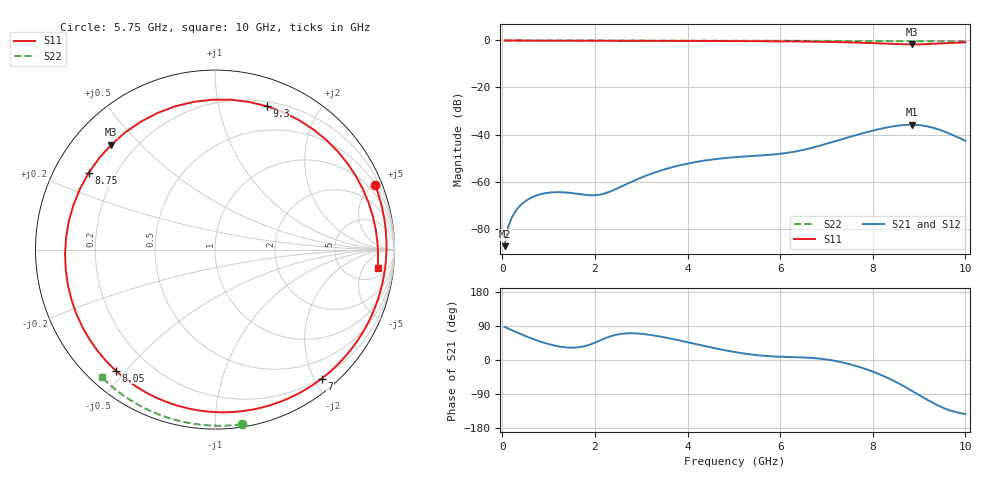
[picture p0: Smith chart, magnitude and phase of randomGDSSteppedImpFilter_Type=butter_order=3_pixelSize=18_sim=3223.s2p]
! freq	dB(S11)	phase(S11)	dB(S12)	phase(S12)
!  dB(S21)	phase(S21)	dB(S22)	phase(S22)
!S-par simulation data
#  GHz  S  DB  R 50
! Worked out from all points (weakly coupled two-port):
!   200 points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, 50 MHz to 10 GHz, reference 50 ohm
!   highest |S21| = -35.84 dB at 8.85 GHz (marker M1); lowest = -87.5 dB at 50 MHz (marker M2)
!   lowest |S11| = -1.7 dB at 8.85 GHz (marker M3), VSWR 10.25, Z = 5.72 + j20.7 ohm
!   |S11| at or under -10 dB: nowhere
!   |S22| runs from -0.4 to 0.0 dB; largest |S21 - S12| = 0
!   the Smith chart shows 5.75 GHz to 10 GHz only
!   S11 on the Smith chart (normalised r, x): 5.75 GHz: 0.54, +5.13; 7 GHz: 0.19, -2.11; 8.05 GHz: 0.08, -0.47; 8.75 GHz: 0.10, +0.28; 9.3 GHz: 0.24, +1.39; 10 GHz: 9, -11
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0.05  -0.00 -4.9  -87.47 87.2  -87.47 87.2  -0.00 -0.8
0.4  -0.06 -38.0  -69.95 68.3  -69.95 68.3  -0.01 -6.1
0.85  -0.09 -76.9  -65.26 47.5  -65.26 47.5  -0.02 -12.8
1.25  -0.11 -106.9  -64.51 35.2  -64.51 35.2  -0.02 -18.8
1.75  -0.13 -138.9  -65.56 35.7  -65.56 35.7  -0.03 -26.2
2.5  -0.14 -179.2  -62.78 67.6  -62.78 67.6  -0.05 -37.1
3.4  -0.17 137.9  -55.44 62.1  -55.44 62.1  -0.07 -49.9
4.25  -0.21 98.0  -51.45 40.1  -51.45 40.1  -0.09 -61.6
5.05  -0.27 58.6  -49.60 20.4  -49.60 20.4  -0.11 -72.2
5.75  -0.34 21.8  -48.66 10.1  -48.66 10.1  -0.14 -81.3
6.25  -0.41 -5.8  -47.49 7.8  -47.49 7.8  -0.16 -87.6
6.7  -0.51 -32.0  -45.58 5.4  -45.58 5.4  -0.18 -93.1
7  -0.60 -50.5  -43.94 1.4  -43.94 1.4  -0.20 -96.8
7.55  -0.85 -87.8  -40.74 -12.7  -40.74 -12.7  -0.23 -103.3
8.05  -1.19 -129.4  -38.10 -33.0  -38.10 -33.0  -0.26 -109.2
8.35  -1.44 -160.4  -36.83 -48.9  -36.83 -48.9  -0.29 -112.7
8.75  -1.69 148.8  -35.87 -74.6  -35.87 -74.6  -0.32 -117.3
8.85  -1.70 134.6  -35.84 -81.7  -35.84 -81.7  -0.33 -118.5
9.1  -1.60 98.3  -36.25 -99.7  -36.25 -99.7  -0.35 -121.3
9.3  -1.42 70.2  -37.12 -113.4  -37.12 -113.4  -0.37 -123.6
9.65  -1.05 27.3  -39.57 -132.3  -39.57 -132.3  -0.41 -127.6
10  -0.80 -6.4  -42.69 -142.5  -42.69 -142.5  -0.44 -131.5
